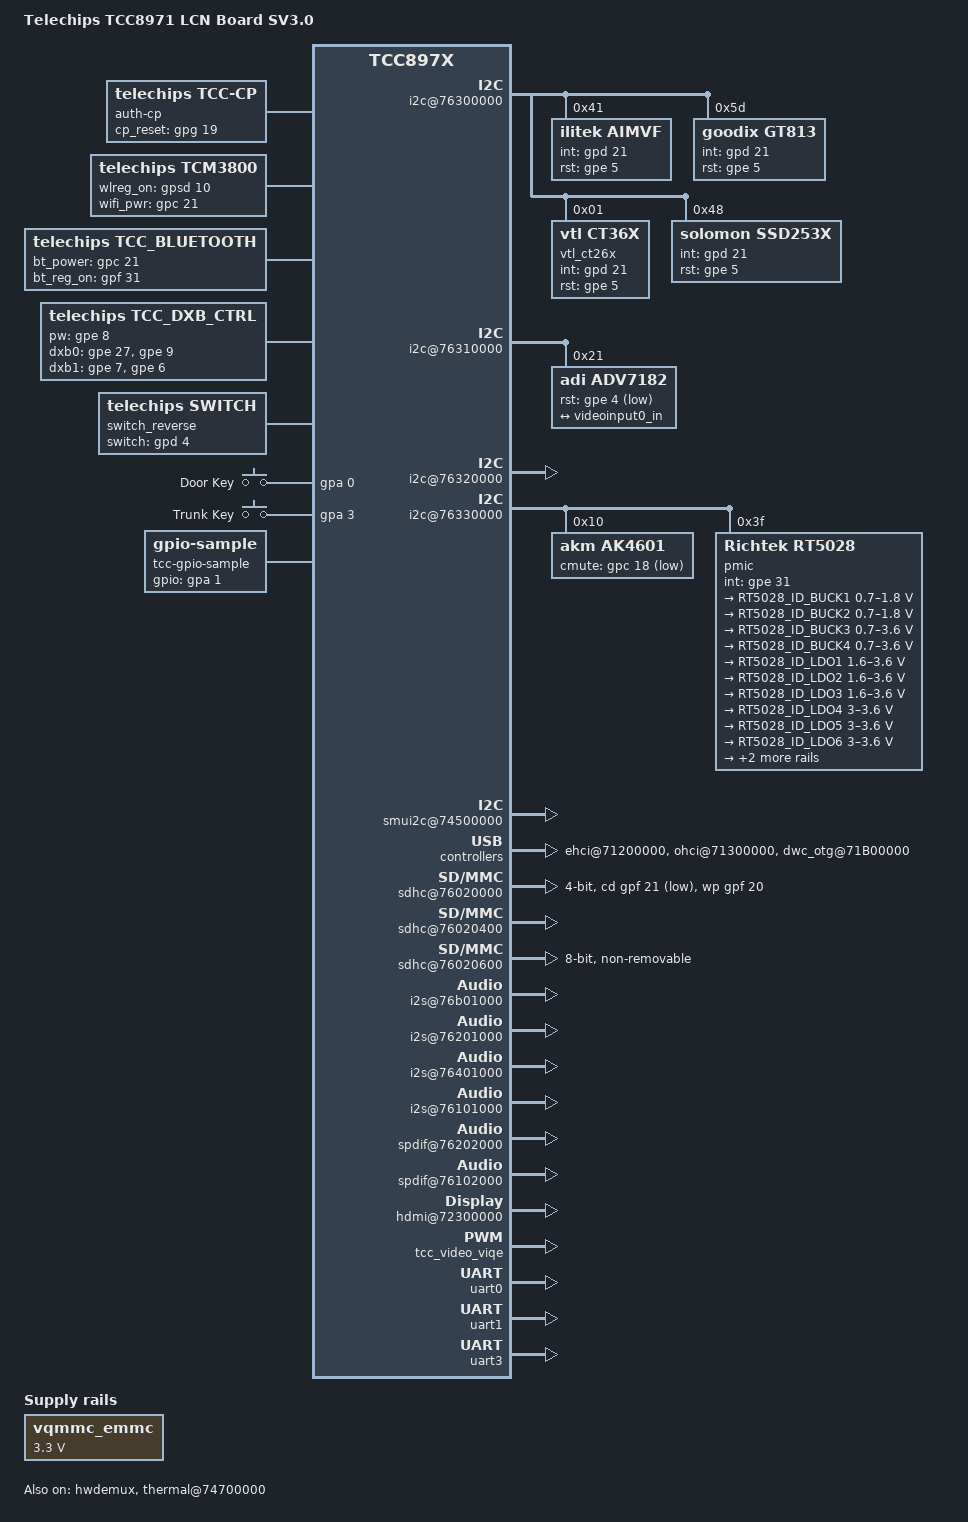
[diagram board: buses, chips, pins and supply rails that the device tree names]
/*
 * Device tree for Telechips TCC8971 LCN board
 *
 * Copyright (C) 2018 Telechips Inc. - http://www.telechips.com
 *
 * This file is dual-licensed: you can use it either under the terms
 * of the GPL or the X11 license, at your option. Note that this dual
 * licensing only applies to this file, and not this project as a
 * whole.
 *
 *  a) This file is free software; you can redistribute it and/or
 *     modify it under the terms of the GNU General Public License as
 *     published by the Free Software Foundation; either version 2 of the
 *     License, or (at your option) any later version.
 *
 *     This file is distributed in the hope that it will be useful,
 *     but WITHOUT ANY WARRANTY; without even the implied warranty of
 *     MERCHANTABILITY or FITNESS FOR A PARTICULAR PURPOSE.  See the
 *     GNU General Public License for more details.
 *
 * Or, alternatively,
 *
 *  b) Permission is hereby granted, free of charge, to any person
 *     obtaining a copy of this software and associated documentation
 *     files (the "Software"), to deal in the Software without
 *     restriction, including without limitation the rights to use,
 *     copy, modify, merge, publish, distribute, sublicense, and/or
 *     sell copies of the Software, and to permit persons to whom the
 *     Software is furnished to do so, subject to the following
 *     conditions:
 *
 *     The above copyright notice and this permission notice shall be
 *     included in all copies or substantial portions of the Software.
 *
 *     THE SOFTWARE IS PROVIDED "AS IS", WITHOUT WARRANTY OF ANY KIND,
 *     EXPRESS OR IMPLIED, INCLUDING BUT NOT LIMITED TO THE WARRANTIES
 *     OF MERCHANTABILITY, FITNESS FOR A PARTICULAR PURPOSE AND
 *     NONINFRINGEMENT. IN NO EVENT SHALL THE AUTHORS OR COPYRIGHT
 *     HOLDERS BE LIABLE FOR ANY CLAIM, DAMAGES OR OTHER LIABILITY,
 *     WHETHER IN AN ACTION OF CONTRACT, TORT OR OTHERWISE, ARISING
 *     FROM, OUT OF OR IN CONNECTION WITH THE SOFTWARE OR THE USE OR
 *     OTHER DEALINGS IN THE SOFTWARE.
 */

/dts-v1/;

#include "tcc8971.dtsi"
#include "tcc8971-display.dtsi"

#include "tcc-pmap-897x-linux-customized.dtsi"
#include "tcc-pmap-common.dtsi"
#include <dt-bindings/pmap/tcc897x/pmap-tcc897x-linux-ivi.h>

/ {
	model = "Telechips TCC8971 LCN Board SV3.0";
	compatible = "telechips,tcc8971", "telechips,tcc897x";

	reserved-memory {
		/*-----------------------------------------------------------
		 * Secure Area 1 (CPU R/W, VPU X, GPU R/W, VIOC R)
		 *-----------------------------------------------------------
		 */
		pmap_fb_video: fb_video {
			compatible = "telechips,pmap";
			telechips,pmap-name = "fb_video";
			alloc-ranges = <SECURE_AREA_1_BASE SECURE_AREA_1_SIZE>;
			size = <PMAP_SIZE_FB_VIDEO>;
			telechips,pmap-secured = <1>;
			no-map;
		};

		pmap_fb1_video: fb1_video {
			compatible = "telechips,pmap";
			telechips,pmap-name = "fb1_video";
			alloc-ranges = <SECURE_AREA_1_BASE SECURE_AREA_1_SIZE>;
			size = <PMAP_SIZE_FB1_VIDEO>;
			telechips,pmap-secured = <1>;
			no-map;
		};

		pmap_fb2_video: fb2_video {
			compatible = "telechips,pmap";
			telechips,pmap-name = "fb2_video";
			alloc-ranges = <SECURE_AREA_1_BASE SECURE_AREA_1_SIZE>;
			size = <PMAP_SIZE_FB2_VIDEO>;
			telechips,pmap-secured = <1>;
			no-map;
		};

		/*-----------------------------------------------------------
		 * Secure Area 2 (CPU X, VPU X, GPU X, VIOC R/W)
		 *-----------------------------------------------------------
		 */
		pmap_overlay: overlay {
			compatible = "telechips,pmap";
			telechips,pmap-name = "overlay";
			alloc-ranges = <SECURE_AREA_2_BASE SECURE_AREA_2_SIZE>;
			/* Max-Displayed-Output(w*h*2) * 3 */
			size = <PMAP_SIZE_OVERLAY>;
			telechips,pmap-secured = <2>;
			no-map;
		};

		pmap_overlay1: overlay1 {
			compatible = "telechips,pmap";
			telechips,pmap-name = "overlay1";
			alloc-ranges = <SECURE_AREA_2_BASE SECURE_AREA_2_SIZE>;
			/* Max-Displayed-Output(w*h*2) * 3 */
			size = <PMAP_SIZE_OVERLAY1>;
			telechips,pmap-secured = <2>;
			no-map;
		};

		pmap_overlay_rot: overlay_rot {
			compatible = "telechips,pmap";
			telechips,pmap-name = "overlay_rot";
			alloc-ranges = <SECURE_AREA_2_BASE SECURE_AREA_2_SIZE>;
			/* Max-Displayed-Output(w*h*2) for device-rotation. */
			size = <PMAP_SIZE_OVERLAY_ROT>;
			telechips,pmap-secured = <2>;
			no-map;
		};

		pmap_viqe0: viqe0 {
			compatible = "telechips,pmap";
			telechips,pmap-name = "viqe";
			alloc-ranges = <SECURE_AREA_2_BASE SECURE_AREA_2_SIZE>;
			size = <PMAP_SIZE_VIQE0>;
			telechips,pmap-secured = <2>;
			no-map;
		};

		pmap_viqe1: viqe1 {
			compatible = "telechips,pmap";
			telechips,pmap-name = "viqe1";
			alloc-ranges = <SECURE_AREA_2_BASE SECURE_AREA_2_SIZE>;
			size = <PMAP_SIZE_VIQE1>;
			telechips,pmap-secured = <2>;
			no-map;
		};

		pmap_output_attach: output_attach {
			compatible = "telechips,pmap";
			telechips,pmap-name = "output_attach";
			alloc-ranges = <SECURE_AREA_2_BASE SECURE_AREA_2_SIZE>;
			size = <PMAP_SIZE_OUTPUT_ATTACH>;
			telechips,pmap-secured = <2>;
			no-map;
		};

		pmap_v4l2_vout0: v4l2_vout0 {
			compatible = "telechips,pmap";
			telechips,pmap-name = "v4l2_vout0";
			alloc-ranges = <SECURE_AREA_2_BASE SECURE_AREA_2_SIZE>;
			size = <PMAP_SIZE_V4L2_VOUT0>;
			telechips,pmap-secured = <2>;
			no-map;
		};

		pmap_v4l2_vout1: v4l2_vout1 {
			compatible = "telechips,pmap";
			telechips,pmap-name = "v4l2_vout1";
			alloc-ranges = <SECURE_AREA_2_BASE SECURE_AREA_2_SIZE>;
			size = <PMAP_SIZE_V4L2_VOUT1>;
			telechips,pmap-secured = <2>;
			no-map;
		};

		pmap_video_dual: video_dual {
			compatible = "telechips,pmap";
			telechips,pmap-name = "video_dual";
			alloc-ranges = <SECURE_AREA_2_BASE SECURE_AREA_2_SIZE>;
			size = <PMAP_SIZE_VIDEO_DUAL>;
			telechips,pmap-secured = <2>;
			no-map;
		};

		pmap_fb_wmixer: fb_wmixer {
			compatible = "telechips,pmap";
			telechips,pmap-name = "fb_wmixer";
			alloc-ranges = <SECURE_AREA_2_BASE SECURE_AREA_2_SIZE>;
			/* Max-Video-Resolution(w*h*2) */
			size = <PMAP_SIZE_FB_WMIXER>;
			telechips,pmap-secured = <2>;
			no-map;
		};

		/*-----------------------------------------------------------
		 * Secure Area 3 (CPU X, VPU R/W, GPU X, VIOC R)
		 *-----------------------------------------------------------
		 */

		pmap_secure_inbuf: secure_inbuf {
			compatible = "telechips,pmap";
			telechips,pmap-name = "secure_inbuf";
			alloc-ranges = <SECURE_AREA_3_BASE SECURE_AREA_3_SIZE>;
			size = <PMAP_SIZE_SECURE_INBUF>;
			telechips,pmap-secured = <3>;
			no-map;
		};

		pmap_video_ext: video_ext {
			compatible = "telechips,pmap";
			telechips,pmap-name = "video_ext";
			alloc-ranges = <SECURE_AREA_3_BASE SECURE_AREA_3_SIZE>;
			size = <PMAP_SIZE_VIDEO_EXT>;
			telechips,pmap-secured = <3>;
			no-map;
		};

		pmap_video_ext2: video_ext2 {
			compatible = "telechips,pmap";
			telechips,pmap-name = "video_ext2";
			alloc-ranges = <SECURE_AREA_3_BASE SECURE_AREA_3_SIZE>;
			size = <PMAP_SIZE_VIDEO_EXT2>;
			telechips,pmap-secured = <3>;
			no-map;
		};

		pmap_video: video {
			compatible = "telechips,pmap";
			telechips,pmap-name = "video";
			alloc-ranges = <SECURE_AREA_3_BASE SECURE_AREA_3_SIZE>;
			size = <PMAP_SIZE_VIDEO>;
			telechips,pmap-secured = <3>;
			no-map;
		};

		pmap_video_sw: video_sw {
			compatible = "telechips,pmap";
			telechips,pmap-name = "video_sw";
			alloc-ranges = <RESERVED_MEM_BASE RESERVED_MEM_SIZE>;
			size = <PMAP_SIZE_VIDEO_SW_EXTRA>;
			no-map;
		};

		/*-----------------------------------------------------------
		 * Secure Area 4 (CPU X, VPU X, GPU R/W, VIOC R/W)
		 *-----------------------------------------------------------
		 */
		pmap_ump_reserved: ump_reserved {
			compatible = "telechips,pmap";
			telechips,pmap-name = "ump_reserved";
			alloc-ranges = <SECURE_AREA_4_BASE SECURE_AREA_4_SIZE>;
			/* Max-Video-Resolution(Aligned_256KB(w*h*3/2)) * 12 + 1MB */
			size = <PMAP_SIZE_UMP_RESERVED>;
			telechips,pmap-secured = <4>;
		};

		pmap_ion_carveout_cam: ion_carveout_cam {
			compatible = "telechips,pmap";
			telechips,pmap-name = "ion_carveout_cam";
			alloc-ranges = <SECURE_AREA_4_BASE SECURE_AREA_4_SIZE>;
			size = <PMAP_SIZE_ION_CARVEOUT_CAM>; // 12MB
			telechips,pmap-secured = <4>;
		};

		/*-----------------------------------------------------------
		 * Shared Memory with pmap_viqe
		 *-----------------------------------------------------------
		 */
		pmap_jpeg_header: jpeg_header {
			compatible = "telechips,pmap";
			telechips,pmap-name = "jpeg_header";
			alloc-ranges = <RESERVED_MEM_BASE RESERVED_MEM_SIZE>;
			telechips,pmap-shared = <&pmap_viqe0>;
			telechips,pmap-shared-size = <PMAP_SIZE_JPEG_HEADER>;
			telechips,pmap-offset = <0x0>;
			size = <0x0>;
			no-map;
		};

		pmap_jpeg_stream: jpeg_stream {
			compatible = "telechips,pmap";
			telechips,pmap-name = "jpeg_stream";
			alloc-ranges = <RESERVED_MEM_BASE RESERVED_MEM_SIZE>;
			telechips,pmap-shared = <&pmap_jpeg_header>;
			telechips,pmap-shared-size = <PMAP_SIZE_JPEG_STREAM>;
			telechips,pmap-offset = <PMAP_SIZE_JPEG_HEADER>;
			size = <0x0>;
			no-map;
		};

		pmap_jpeg_raw: jpeg_raw {
			compatible = "telechips,pmap";
			telechips,pmap-name = "jpeg_raw";
			alloc-ranges = <RESERVED_MEM_BASE RESERVED_MEM_SIZE>;
			telechips,pmap-shared = <&pmap_jpeg_stream>;
			telechips,pmap-shared-size = <PMAP_SIZE_JPEG_RAW>;
			telechips,pmap-offset = <PMAP_SIZE_JPEG_STREAM>;
			size = <0x0>;
			no-map;
		};

		/*-----------------------------------------------------------
		 * Camera Memory
		 *-----------------------------------------------------------
		 */
		pmap_rearcamera_viqe: rearcamera_viqe {
			compatible = "telechips,pmap";
			telechips,pmap-name = "rearcamera_viqe";
			alloc-ranges = <EARLY_REARCAM_BASE EARLY_REARCAM_SIZE>;
			size = <PMAP_SIZE_CAMERA_VIQE>;
			no-map;
		};

		pmap_rearcamera: rearcamera {
			compatible = "telechips,pmap";
			telechips,pmap-name = "rearcamera";
			alloc-ranges = <EARLY_REARCAM_BASE EARLY_REARCAM_SIZE>;
			size = <PMAP_SIZE_CAMERA_PREVIEW0>;
			no-map;
		};

		pmap_rearcamera3: rearcamera3 {
			compatible = "telechips,pmap";
			telechips,pmap-name = "rearcamera3";
			alloc-ranges = <EARLY_REARCAM_BASE EARLY_REARCAM_SIZE>;
			size = <PMAP_SIZE_CAMERA_PREVIEW3>;
			no-map;
		};

		pmap_parking_gui: parking_gui {
			compatible = "telechips,pmap";
			telechips,pmap-name = "parking_gui";
			alloc-ranges = <EARLY_REARCAM_BASE EARLY_REARCAM_SIZE>;
			size = <PMAP_SIZE_CAMERA_PGL>;
			no-map;
		};

		/*-----------------------------------------------------------
		 * Default Reserved Memory
		 *-----------------------------------------------------------
		 */
		pmap_ump_reserved_sw: ump_reserved_sw {
			compatible = "telechips,pmap";
			telechips,pmap-name = "ump_reserved_sw";
			alloc-ranges = <RESERVED_MEM_BASE RESERVED_MEM_SIZE>;
			size = <PMAP_SIZE_UMP_RESERVED_SW>; // 4KB * 12
			no-map;
		};

		pmap_video_sbackup: video_sbackup {
			compatible = "telechips,pmap";
			telechips,pmap-name = "video_sbackup";
			alloc-ranges = <RESERVED_MEM_BASE RESERVED_MEM_SIZE>;
			/* 0x200000 for 1080p, 0x600000 for 2160p */
			size = <PMAP_SIZE_VIDEO_SBACKUP>;
			telechips,pmap-secured;
			no-map;
		};

		pmap_pmem: pmem {
			compatible = "telechips,pmap";
			telechips,pmap-name = "pmem";
			alloc-ranges = <RESERVED_MEM_BASE RESERVED_MEM_SIZE>;
			size = <PMAP_SIZE_PMEM>;
			no-map;
		};

		pmap_video_thumb: video_thumb {
			compatible = "telechips,pmap";
			telechips,pmap-name = "video_thumb";
			alloc-ranges = <RESERVED_MEM_BASE RESERVED_MEM_SIZE>;
			/* 0x600000 for 1080p video, 0x1A00000 for 2160p */
			size = <PMAP_SIZE_VIDEO_THUMB>;
			no-map;
		};

		pmap_ext_camera: ext_camera {
			compatible = "telechips,pmap";
			telechips,pmap-name = "ext_camera";
			alloc-ranges = <RESERVED_MEM_BASE RESERVED_MEM_SIZE>;
			size = <PMAP_SIZE_EXT_CAMERA>;
			no-map;
		};

		pmap_nand_mem: nand_mem {
			compatible = "telechips,pmap";
			telechips,pmap-name = "nand_mem";
			alloc-ranges = <RESERVED_MEM_BASE RESERVED_MEM_SIZE>;
			size = <PMAP_SIZE_NAND_MEM>;
			no-map;
		};

		pmap_tsif: tsif {
			compatible = "telechips,pmap";
			telechips,pmap-name = "tsif";
			alloc-ranges = <RESERVED_MEM_BASE RESERVED_MEM_SIZE>;
			size = <PMAP_SIZE_TSIF>;
			no-map;
		};

		/*
		 * pmap_jpg_enc_dxb: jpg_enc_dxb {
		 *	telechips,pmap-name = "jpg_enc_dxb";
		 *	alloc-ranges = <RESERVED_MEM_BASE RESERVED_MEM_SIZE>;
		 *	size = <PMAP_SIZE_JPG_ENC_DXB>;
		 *	no-map;
		 * };
		 *
		 * pmap_jpg_raw_dxb: jpg_raw_dxb {
		 *	telechips,pmap-name = "jpg_raw_dxb";
		 *	alloc-ranges = <RESERVED_MEM_BASE RESERVED_MEM_SIZE>;
		 *	size = <PMAP_SIZE_JPG_RAW_DXB>;
		 *	no-map;
		 * };
		 */

		pmap_v4l2_subtitle: v4l2_subtitle {
			compatible = "telechips,pmap";
			telechips,pmap-name = "v4l2_subtitle";
			alloc-ranges = <RESERVED_MEM_BASE RESERVED_MEM_SIZE>;
			size = <PMAP_SIZE_V4L2_SUBTITLE>;
			no-map;
		};

		pmap_prot_tztee: prot_tztee {
			compatible = "telechips,pmap";
			telechips,pmap-name = "prot_tztee";
			alloc-ranges = <RESERVED_MEM_BASE RESERVED_MEM_SIZE>;
			/* Calculate start address based on 0x30000000.
			 * Base address will be (0x30000000 - prot_tztee_size).
			 */
			size = <0x0>;
			no-map;
		};

		reserved_ramoops: ramoops {
			compatible = "telechips,pmap";
			telechips,pmap-name = "ramoops";
			alloc-ranges = <RESERVED_MEM_BASE RESERVED_MEM_SIZE>;
			size = <PMAP_SIZE_RAMOOPS>;
			no-map;
		};

		/*
		 * reserved_cma: linux,cma {
		 *	compatible = "shared-dma-pool";
		 *	alloc-ranges = <RESERVED_MEM_BASE RESERVED_MEM_SIZE>;
		 *	size = <PMAP_SIZE_CMA>;
		 *	//alignment = <0x04000000>;
		 *	alignment = <0x0>;
		 *	linux,cma-default;
		 *	reusable;
		 * };
		 */

		/*-----------------------------------------------------------
		 * Shared Memory with pmap_video :: only for enc_main pmap.
		 *-----------------------------------------------------------
		 */
		pmap_enc_main: enc_main {
			compatible = "telechips,pmap";
			telechips,pmap-name = "enc_main";
			alloc-ranges = <RESERVED_MEM_BASE RESERVED_MEM_SIZE>;
			telechips,pmap-shared = <&pmap_video>;
			telechips,pmap-shared-size = <PMAP_SIZE_ENC>;
			telechips,pmap-offset = <VIDEO_MAIN_SIZE>;
			size = <0x0>;
			no-map;
		};

		pmap_enc_ext: enc_ext {
			compatible = "telechips,pmap";
			telechips,pmap-name = "enc_ext";
			alloc-ranges = <RESERVED_MEM_BASE RESERVED_MEM_SIZE>;
			size = <PMAP_SIZE_ENC_EXT>;
			no-map;
		};

		pmap_enc_ext2: enc_ext2 {
			compatible = "telechips,pmap";
			telechips,pmap-name = "enc_ext2";
			alloc-ranges = <RESERVED_MEM_BASE RESERVED_MEM_SIZE>;
			size = <PMAP_SIZE_ENC_EXT2>;
			no-map;
		};

		pmap_enc_ext3: enc_ext3 {
			compatible = "telechips,pmap";
			telechips,pmap-name = "enc_ext3";
			alloc-ranges = <RESERVED_MEM_BASE RESERVED_MEM_SIZE>;
			size = <PMAP_SIZE_ENC_EXT3>;
			no-map;
		};

		pmap_enc_ext4: enc_ext4 {
			compatible = "telechips,pmap";
			telechips,pmap-name = "enc_ext4";
			alloc-ranges = <RESERVED_MEM_BASE RESERVED_MEM_SIZE>;
			size = <PMAP_SIZE_ENC_EXT4>;
			no-map;
		};

		pmap_enc_ext5: enc_ext5 {
			compatible = "telechips,pmap";
			telechips,pmap-name = "enc_ext5";
			alloc-ranges = <0x0 RESERVED_MEM_BASE 0x0 RESERVED_MEM_SIZE>;
			size = <0x0 PMAP_SIZE_ENC_EXT5>;
			no-map;
		};

		pmap_enc_ext6: enc_ext6 {
			compatible = "telechips,pmap";
			telechips,pmap-name = "enc_ext6";
			alloc-ranges = <0x0 RESERVED_MEM_BASE 0x0 RESERVED_MEM_SIZE>;
			size = <0x0 PMAP_SIZE_ENC_EXT6>;
			no-map;
		};

		pmap_enc_ext7: enc_ext7 {
			compatible = "telechips,pmap";
			telechips,pmap-name = "enc_ext7";
			alloc-ranges = <0x0 RESERVED_MEM_BASE 0x0 RESERVED_MEM_SIZE>;
			size = <0x0 PMAP_SIZE_ENC_EXT7>;
			no-map;
		};

		pmap_svm: pmap_svm {
			compatible = "telechips,pmap";
			telechips,pmap-name = "pmap_svm";
			alloc-ranges = <RESERVED_MEM_BASE RESERVED_MEM_SIZE>;
			size = <PMAP_SVM_SIZE>;
			no-map;
		};

		reserved_optee: optee_os {
			compatible = "optee.os";
			reg = <0x83400000 0x00C00000>;
			no-map;
			status = "disabled";
		};

		/*
		 * quickboot: quickboot {
		 * compatible = "telechips,pmap";
		 * telechips,pmap-name = "quickboot";
		 * alloc-ranges = <RESERVED_MEM_BASE RESERVED_MEM_SIZE>;
		 * size = <0x01800000>;
		 *  no-map;
		 * };
		 */
	};

	/*tcc_bt_dev {
		compatible = "telechips, tcc_bt_dev";
		bt_reset-gpio = <&gpsd 10 0>;
	};*/
	/* cranking_time */
	/*cranking_detect {
		compatible = "telechips, tcc-cranking";
		cranking-gpios = <&gpf 25 0>;
	};*/
	/*gps-gpio {
		compatible = "telechips, gps-gpio";
		gps_power-gpios = <&gpc 25 0>;
	};*/

	/* CP */
	auth-cp {
		compatible = "telechips, tcc-cp";
		cp-type = <1>;	    // 2.0C = 1, 2.0B = 0
		i2c-channel = <2>;	// 0 ~ 3
		//power-ctrl-able;
		//cp_power-gpio = <&gpg 19 0>;
		cp_reset-gpio = <&gpg 19 0>;
	};

/*
	add dummy key for booting  - start -
 */
	/*pinctrl@74200000 {
		gpio_powerkey: gpio_powerkey {
			telechips,pins = "gpf-31";
			telechips,pin-function = <0>;
			telechips,input-enable;
			telechips,pull-up;
		};
	};*/

	/*gpio_keys_polled {
		compatible = "gpio-keys-polled";
		pinctrl-names = "default";
		pinctrl-0 = <&gpio_powerkey>;
		#address-cells = <1>;
		#size-cells = <0>;
		poll-interval = <100>;
		autorepeat;
		button@0 {
			label = "Power Key";
			linux,code = <116>;
			gpios = <&gpf 31 1>;
		};
	};*/
/*
	add dummy key for booting  - end -
 */

	i2c@76300000 {
		status = "okay";
		port-mux = <11>;
		pinctrl-names = "default";
		pinctrl-0 = <&i2c11_bus>;

		ilitek@41 {
			compatible = "ilitek,aimvF";
			reg = <0x41>;
			pinctrl-names = "default";
			pinctrl-0 = <&tsc_default>;
			int-gpios = <&gpd 21 0>;
			rst-gpios = <&gpe 5 0>;
		};

		gt813@5d {
			compatible = "goodix,gt813";
			reg = <0x5d>;
			pinctrl-names = "default";
			pinctrl-0 = <&tsc_default>;
			int-gpios = <&gpd 21 0>;
			rst-gpios = <&gpe 5 0>;
		};

		vtl_ct26x@01 {
			compatible = "vtl,ct36x";
			reg = <0x01>;
			pinctrl-names = "default";
			pinctrl-0 = <&tsc_default>;
			int-gpios = <&gpd 21 0>;
			rst-gpios = <&gpe 5 0>;
		};

		ssd253x@48 {
			compatible = "solomon,ssd253x";
			reg = <0x48>;
			pinctrl-names = "default";
			pinctrl-0 = <&tsc_default>;
			int-gpios = <&gpd 21 0>;
			rst-gpios = <&gpe 5 0>;
		};
	};

	i2c@76310000 {
		status = "okay";
		port-mux = <18>;
		pinctrl-names = "default";
		pinctrl-0 = <&i2c18_bus>;

		/* video decoder using parallel interface output */
		adv7182: adv7182 {
			status		= "okay";
			compatible	= "adi,adv7182";
			pinctrl-names	= "default";
			pinctrl-0	= <&cam4_clk &cam4_data>;
			rst-gpios	= <&gpe  4 1>;
			reg		= <0x21>;	// 0x42 >> 1
			port {
				adv7182_out: endpoint {
					remote-endpoint = <&videoinput0_in>;
					io-direction	= "output";
					bus-width	= <8>;
				};
			};
		};
	};

	i2c@76320000 {
		status = "okay";
		/*Set CP I2C frequency to 100Khz*/
		scl-clock-frequency = <100000>;
		port-mux = <23>;
		pinctrl-names = "default";
		pinctrl-0 = <&i2c23_bus>;
	};

	i2c@76330000 {
		status = "okay";
		/*Set AK4601 I2C frequency to 400Khz.*/
		/*80Khz is okay, but too slow and make delay.*/
		scl-clock-frequency = <400000>;
		port-mux = <12>;
		pinctrl-names = "default";
		pinctrl-0 = <&i2c12_bus>;

		ak4601: ak4601@10 {
			compatible = "akm,ak4601";
			//ak4601,pdn-gpio = <&gpe 4 1>;
			cmute-gpios = <&gpc 18 1>;     //CODEC_MUTE    0: active high, 1: active low
			//amute-gpios = <&gpc 18 0>;      //AMP_MUTE      0: active high, 1: active low
			//stanby-gpios = <&gpc 16 0>;     //AMP_STBY      0: active high, 1: active low
			reg = <0x10>;
		};

		pmic: rt5028@3f {
			compatible = "Richtek,rt5028";
			reg = <0x3f>;
			int-gpios = <&gpe 31 0>;

			regulators {
				RT5028_ID_BUCK1: buck1 {
					regulator-name = "vdd_core";
					regulator-min-microvolt = <700000>;
					regulator-max-microvolt = <1800000>;
					regulator-always-on;
				};
				RT5028_ID_BUCK2: buck2 {
					regulator-name = "vdd_mem";
					regulator-min-microvolt = <700000>;
					regulator-max-microvolt = <1800000>;
					regulator-always-on;
				};
				RT5028_ID_BUCK3: buck3 {
					regulator-name = "vdd_cpu";
					regulator-min-microvolt = <700000>;
					regulator-max-microvolt = <3600000>;
					regulator-always-on;
				};
				RT5028_ID_BUCK4: buck4 {
					regulator-name = "vdd_io3v3";
					regulator-min-microvolt = <700000>;
					regulator-max-microvolt = <3600000>;
					regulator-always-on;
				};
				RT5028_ID_LDO1: ldo1 {
					regulator-name = "vd2_core";
					regulator-min-microvolt = <1600000>;
					regulator-max-microvolt = <3600000>;
					regulator-always-on;
				};
				RT5028_ID_LDO2: ldo2 {
					regulator-name = "vdd_io1v8";
					regulator-min-microvolt = <1600000>;
					regulator-max-microvolt = <3600000>;
					regulator-always-on;
				};
				RT5028_ID_LDO3: ldo3 {
					regulator-name = "vdd_btwifi";
					regulator-min-microvolt = <1600000>;
					regulator-max-microvolt = <3600000>;
					regulator-always-on;
				};
				RT5028_ID_LDO4: ldo4 {
					regulator-name = "vdd_vbat";
					regulator-min-microvolt = <3000000>;
					regulator-max-microvolt = <3600000>;
					regulator-always-on;
				};
				RT5028_ID_LDO5: ldo5 {
					regulator-name = "vdd_gps";
					regulator-min-microvolt = <3000000>;
					regulator-max-microvolt = <3600000>;
					regulator-always-on;
				};
				RT5028_ID_LDO6: ldo6 {
					regulator-name = "vd1_io";
					regulator-min-microvolt = <3000000>;
					regulator-max-microvolt = <3600000>;
					regulator-always-on;
				};
				RT5028_ID_LDO7: ldo7 {
					regulator-name = "vd1_core";
					regulator-min-microvolt = <1600000>;
					regulator-max-microvolt = <3600000>;
					regulator-always-on;
				};
				RT5028_ID_LDO8: ldo8 {
					regulator-name = "vd2_io";
					regulator-min-microvolt = <1600000>;
					regulator-max-microvolt = <3600000>;
					regulator-always-on;
				};
			};
		};
	};

	videoinput@0 {
		status = "okay";
		cifport         = <&cifport             4>;
		use_pgl		= <1>;
		port {
			videoinput0_in: endpoint {
				remote-endpoint	= <&adv7182_out>;
				io-direction	= "input";
				bus-type	= <0>;
				stream-enable	= <0>;	// VIN_CTRL.SE
				flush-vsync	= <0>;	// VIN_MISC.FVS
			};
		};
	};

	smui2c@74500000 {
		status = "okay";
	};

	ehci_phy@71EA0010{
		status = "okay";
		vbus-ctrl-able;
		vbus-gpio = <&gphdmi 2 0>;
	};

	dwc_otg_phy@71EA0100 {
		status = "okay";
		vbus-ctrl-able;
		vbus-gpio = <&gphdmi 3 0>;
	};

	ehci@71200000 {
		status = "okay";
		hcd_id = <0>;
		phy-type = <1>;	    //pico phy = 1, nano phy = 0
		//hosten-ctrl-able;
		//hosten-gpio = <&gp? ?? 0>;
		vbus-ctrl-able;
		vbus-gpio = <&gphdmi 2 0>;
		//vbus-source-ctrl;
		//pinctrl-names = "default";
		//vdd_ehci-supply = <&vdd_v5p0_reg>;

		//sq_level_ctl;
		TXVRT = <0xB>;
		TXRISET = <0x3>;
		TXAT = <0x1>;
	};

	ohci@71300000 {
		status = "okay";
		//hosten-ctrl-able;
		//hosten-gpio = <&gp? ?? 0>;
		vbus-ctrl-able;
		vbus-gpio = <&gphdmi 2 0>;
		//vbus-source-ctrl;
		//vdd_ohci-supply = <&vdd_v5p0_reg>;
	};

	dwc_otg@71B00000 {
		status = "okay";
		phy-type = <1>;     //pico phy = 1, nano phy = 0
		vbus-ctrl-able;
		vbus-gpio = <&gphdmi 3 0>;
	};

	/* SD Card Slot */
	sdhc@76020000 {
		status = "okay";
		controller-id = <0>;
		bus-width = <4>;
		max-frequency = <50000000>;
		cd-inverted;
		/*non-removable;*/
		cd-gpios = <&gpf 21 0>;
		/*broken-cd;*/
		/*wp-inverted;*/
		wp-gpios = <&gpf 20 0>;
		pinctrl-names = "default", "active";
		pinctrl-0 = <&sd5_clk_idle &sd5_cmd_idle &sd5_bus4_idle>;
		pinctrl-1 = <&sd5_clk &sd5_cmd &sd5_bus4>;
		/*vctrl-gpio = <&gpsd 10 0>;*/
		/* pwr-gpio = <&gpb 28 0>; */ /* NC */

		cap-sdio-irq;
		//cd-polling;

		cap2-no-sleep-cmd;
		cap-bus-width-test;

		/*High-speed SDR*/
		cap-sd-highspeed;
		cap-mmc-highspeed;

		/*keep-power-in-suspend;*/
		/*enable-sdio-wakeup;*/
		/*cap-power-off-card;*/
	};

	sdhc@76020400 { // Wi-Fi tcm3840
		status = "okay";
		controller-id = <2>;
		max-frequency = <208000000>;
		//cd-gpios = <&gpb 13 0>;
		//wp-gpios = <&gpext1 3 0>;
		pinctrl-names = "default", "active";
		pinctrl-0 = <&sd0_clk_idle &sd0_cmd_idle &sd0_bus4_idle &out0_clk>;
		pinctrl-1 = <&sd0_clk &sd0_cmd &sd0_bus4 &out0_clk>;
		clocks = <&clk_peri PERI_SDMMC2 &clk_io IOBUS_SDMMC2 &clk_peri PERI_OUT0>;
		clock-names = "mmc_fclk", "mmc_hclk", "ext32";
		//pwr-gpio = <&gpext2 10 0>;

		cd-inverted;
		//wp-inverted;
		//non-removable;
		//broken-cd;
		keep-power-in-suspend;
		//enable-sdio-wakeup;
		//cap-power-off-card;
		//tcc-clock-control;
		cap-sdio-irq;
		cap2-no-sleep-cmd;
		cap-bus-width-test;

		wifi-polling; // tcm3800 polling
		ext32-enable; // make_rtc
		cap-adma;

		/* High-speed SDR */
		cap-sd-highspeed;
		cap-mmc-highspeed;

		/* High-speed DDR(emmc & SD3.0 DDR50) */
		//cap-1-8V-ddr;
		//cap-uhs-ddr50;

		/* SD3.0 Common */
		cap-vdd-165-195;

		/* SD3.0 SDR12 */
		//cap-uhs-sdr12;

		/* SD3.0 SDR25 */
		//cap-uhs-sdr25;
		//cap-uhs-driver_type_a;

		/* SD3.0 SDR50 */
		//cap-uhs-sdr50;
		//cap-uhs-driver_type_c;

		/* SD3.0 SDR104 */
		cap-uhs-sdr104;
		cap-uhs-driver_type_d;
		cap-uhs-cmd23;
		cap-adma;
	};

	/* eMMC */
	vqmmc_emmc: vqmmc_emmc {
		compatible = "regulator-fixed";
		regulator-name = "vqmmc_emmc";
		regulator-min-microvolt = <3300000>;
		regulator-max-microvolt = <3300000>;
		regulator-always-on;
	};

	sdhc@76020600 {
		status = "okay";
		compatible = "telechips,tcc897x-sdhci";
		controller-id = <3>;
		bus-width = <8>;
		max-frequency = <50000000>;
		pinctrl-names = "default";
		pinctrl-0 = <&sd3_clk &sd3_cmd &sd3_bus8>;

		non-removable;
		keep-power-in-suspend;
		disable-wp;
		mmc-ddr-3_3v;

		vqmmc-supply = <&vqmmc_emmc>;
	};

	tcm3800 {
		compatible = "telechips, tcm3800";
		wlreg_on-gpio = <&gpsd 10 0>; /* WIFI_REG_ON */
		wifi_pwr-gpio = <&gpc 21 0>; /* BTWIFI_VBAT_EN */
	};

	tcc_bluetooth {
		compatible = "telechips, tcc_bluetooth";
		bt_power-gpio = <&gpc 21 0>;
		bt_reg_on-gpio = <&gpf 31 0>;
		status = "okay";
	};

	tcc_dxb_drv {
		compatible = "telechips,tcc_dxb_drv";
	};

	tcc_dxb_ctrl {
		compatible = "telechips,tcc_dxb_ctrl";
		/* DXB_ON */
		pw-gpios   = <&gpe 8 0>;
		/* PD RST IRQ */
		dxb0-gpios = <&gpe 27 0>, <&gpe 9 0>, <0>, <0>;
		dxb1-gpios = <&gpe 7 0>, <&gpe 6 0>, <0>, <0>;
		ant-gpios  = <0>, <0>;
	};

	i2s@76b01000 {
		compatible = "telechips,sdr";
		dev-name = "tcc-sdr";
		pinctrl-names = "default", "dai_mute";
		pinctrl-0 = <&s2dai_clks &s2dai_d0 &s2dai_d1 &s2dai_d2 &s2dai_d3>;
		pinctrl-1 = <&mute_s2dai_d0 &mute_s2dai_d1 &mute_s2dai_d2 &mute_s2dai_d3>;
		status = "okay";
	};

	pinctrl@74200000 {
		/*gpg-6 is for SDR_GPIO1*/
		mdai_clks: mdai_clks{
			telechips,pins = "gpg-7", "gpg-8";
			telechips,pin-function = <1>;
		};
	};

	i2s@76201000 { /*This is for BT hw:0,2*/
		pinctrl-names = "default", "dai_mute";
		pinctrl-0 = <&mdai_clks &mdai_d0>;
		pinctrl-1 = <&mute_mdai_d0>;
		clock-frequency = <48000>;
		status = "okay";
	};

	i2s@76401000 { /*This is for MainAudio hw:0,0*/
		pinctrl-names = "default", "dai_mute";
		pinctrl-0 = <&s1dai_clks &s1dai_d0>;
		pinctrl-1 = <&mute_s1dai_d0>;
		clock-frequency = <48000>;
		status = "okay";
	};

/* I2S2 connect to SDR
	i2s@76b01000 {
		pinctrl-names = "default";
		pinctrl-0 = <&s2dai_clks &s2dai_d0>;
		clock-frequency = <12288000>;	// 48000*256
		status = "okay";
	};
*/

	i2s@76101000 { /*This is for hw:0,5*/
		pinctrl-names = "default", "dai_mute";
		pinctrl-0 = <&s3dai_clks &s3dai_d0>;
		pinctrl-1 = <&mute_s3dai_d0>;
		clock-frequency = <48000>;
		status = "okay";
	};

	spdif@76202000 { /*This is for SPDIF TX1 hw:0,1*/
		pinctrl-names = "default";
		pinctrl-0 = <&mdai_spdif_tx &mdai_spdif_rx>;
		status = "okay";
	};

	spdif@76102000 { /*This is for SPDIF TX2 hw:0,3*/
		pinctrl-names = "default";
		pinctrl-0 = <&s3dai_spdif_tx>;
		status = "okay";
	};

	cdif@76101080 {	/*This is for SDR hw:0,4*/
		pinctrl-names = "default";
		pinctrl-0 = <&scdif2_clks &scdif2_d0>;
		status = "okay";
	};

	dummy: dummy@0 {
		compatible = "telechips,dummy";
	};

	sound {
		compatible = "telechips,snd-lcn3";
		telechips,model = "TCC8971 LCN2 Card";
		telechips,dai-controller = <&i2s1 &spdif0 &i2s0 &spdif1 &cdif1 &i2s3>;
		telechips,audio-codec = <&ak4601 &dummy &dummy &dummy &dummy &dummy>;
		status="okay";
	};

	switch_reverse {
		compatible = "telechips,switch";
		status = "okay";

		pinctrl-names = "default";
		pinctrl-0 = <&switch_reverse2>;

		switch-gpios = <&gpd 4 0>;
		switch-active = <1>;
	};

/*
	tcc_camera: tcc_camera {
		compatible = "telechips-camera";
		status = "okay";

		clocks = <&clk_peri PERI_OUT3 &clk_ddi DDIBUS_VIOC>;

		rear_cam_misc = <&rear_ramera>;

		camera_pgl	= <&vioc_rdma	 16>;
		camera_videoin	= <&vioc_vin	4 0>;
		camera_viqe	= <&vioc_viqe	  0>;
		camera_viqe_set	= <&viqe_hidden	   >;
		camera_deintls	= <&vioc_deintls  0>;
		camera_scaler	= <&vioc_scaler	  2>;
		camera_wmixer	= <&vioc_wmixer	  5>;
		camera_wdma	= <&vioc_wdma	  5>;
		camera_fifo	= <&vioc_fifo	  0>;
		camera_config	= <&vioc_config	  0>;

		pinctrl-names = "idle", "active";
		pinctrl-0 = <&cam4_idle>;
		pinctrl-1 = <&cam4_clki &cam4_hsync &cam4_vsync &cam4_data &cam4_fld>;
		//pinctrl-0 = <&cam1_idle>;
		//pinctrl-1 = <&cam1_clki &cam1_hsync &cam1_vsync &cam1_data &cam1_fld &cam1_de>;

		// cif port based on video source
		adv7182_atv {
			rst-gpios = <&gpe  4 1>;
			camera_port = <&cifport 4>;
		};
		dm5886_atv {
			rst-gpios = <&gpf 11 1>;
			camera_port = <&cifport 1>;
		};
	};
*/

	hdmi@72300000 {
		status ="okay";
	};

	hpd@72310000 {
		status ="okay";
	};

	cec@72370000 {
		status ="okay";
	};

	overlaymixer:overlaymixer@72400000 {
		//status ="okay";
		contiguousSize = <0x1000000>;  /* 16MB (if > 512MB RAM) refer to Guide 27 Page */
		baseAddress = <0x80000000>;
		physSize = <0x80000000>; /*  DRAM size (0x40000000 = 1GB, 0x80000000 = 2GB) */
	};

	fbdisplay: fbdisplay@72000000 {
		telechips,fbdisplay_num = <0>;
		//Linuxplatform
		telechips,overlay_priority = <24>;
		//
		status ="okay";
	};

//TODO:TCC897X Only Android????
	tcc_vsync_drv {
		compatible = "telechips,tcc_vsync";
		display-vioc0 = <&vioc_disp VIOC_DISP0>;
		display-vioc1 = <&vioc_disp VIOC_DISP1>;
		status = "okay";
	};

	tcc_video_viqe {
		status ="okay";

		tcc_video_viqe_lcd {
			telechips,wmixer = <&vioc_wmix VIOC_WMIX0>;
			telechips,rdma,60 = <&vioc_rdma VIOC_RDMA03>;
			telechips,disp = <&vioc_disp VIOC_DISP0>;
			telechips,sc = <&vioc_scaler VIOC_SCALER1>;
			viqe_rdma_num_60 = <VIOC_VIQE_RDMA_03>;
			sc_rdma_num_60 = <VIOC_SC_RDMA_03>;
			//scaler_num_60 = <1>;
			//wmix_rdma = <3>;
		};

		tcc_video_viqe_external {
			telechips,wmixer = <&vioc_wmix VIOC_WMIX1>;
			telechips,rdma,60 = <&vioc_rdma VIOC_RDMA07>;
			telechips,disp = <&vioc_disp VIOC_DISP1>;
			telechips,sc = <&vioc_scaler VIOC_SCALER3>;
			viqe_rdma_num_60 = <VIOC_VIQE_RDMA_07>;
			scaler_num_60 = <VIOC_SC_RDMA_03>;
			//sc_rdma_num_60 = <7>;
			//wmix_rdma = <7>;
		};
	};

	vioc_lut:vioc_lut@72009000{
		status = "okay";
	};

	/* H/W Demux */
	hwdemux: cmbus@79000000 {
		compatible = "telechips,hwdemux";
		status = "okay";
	};

	gpsb1@76910000 {
		status = "okay";
		gpsb-port = <13>;
		pinctrl-names = "idle", "active";
		pinctrl-0 = <&gpsb13_bus_idle>;
		pinctrl-1 = <&gpsb13_bus_tsif>;
	};

	gpsb2@76920000 {
		status = "okay";
		gpsb-port = <12>;
		pinctrl-names = "idle", "active";
		pinctrl-0 = <&gpsb12_bus_idle>;
		pinctrl-1 = <&gpsb12_bus_tsif>;
	};

	/*tcc_ex_tsif {
		compatible = "telechips,tcc89xx-hwdmx-tsif";
		tsif-id = <2>;
		tsif-port = <6>;
		pinctrl-names = "idle", "active";
		pinctrl-0 = <&ts6_idle>;
		pinctrl-1 = <&ts6_active>;
	};*/

/*
	viocmg {
		compatible = "telechips,viocmg-drv";
		status = "okay";
		telechips,viocmg-fbdisplay = <&fbdisplay>;
		telechips,viocmg-camera = <&tcc_camera>;
		telechips,viocmg-rearcam = <&rear_ramera>;

		// RDMA in Display Path
		telechips,disp_rdma = <&vioc_rdma 2>;

		// feature
		telechips,rear_cam_enable = <1>;
		telechips,rear_cam_use_viqe = <1>;
		telechips,rear_cam_viqe_mode = <2>;
		telechips,rear_cam_use_parking_line = <1>;

		// rear cam mode
		telechips,rear_cam_mode = <0>;
		telechips,rear_cam_ovp = <13>;

		// hardware reg
		telechips,wmixer = <&vioc_wmixer>;
		telechips,config = <&vioc_config>;
	};

	rear_ramera:rear-camera {
		compatible = "telechips,rear-camera-drv";
		telechips,rear-camera = <&tcc_camera>;
		status = "okay";

		// preview
		telechips,preview_x = <0>;
		telechips,preview_y = <0>;
		telechips,preview_width = <1024>;
		telechips,preview_height = <600>;
		telechips,preview_format = <14>;
		telechips,preview_crop_x = <0>;
		telechips,preview_crop_y = <30>;
		telechips,preview_additional_width = <0>;
		telechips,preview_additional_height = <35>;

		// parking line
		telechips,parking_line_x = <0>;
		telechips,parking_line_y = <0>;
		telechips,parking_line_width = <1024>;
		telechips,parking_line_height = <600>;
		telechips,parking_line_format = <12>;
	};
*/

	vout_drv@0 {
		status = "okay";
	};

	/*gmac@71600000 {
		status = "okay";
		phyrst-gpio = <&gpc 29 0>;
		//phyon-gpio = <&gpc 19 0>;  [> not use bcm89811 <]
		phy-interface = "rgmii";
		ecid-mac-addr;
		txclk-o-dly = <0>; // changed from <29>;
		txclk-o-inv = <0>;
		txclk-i-dly = <0>;
		txclk-i-inv = <0>;
		txen-dly = <0>;
		txer-dly = <0>;
		txd0-dly = <0>;
		txd1-dly = <0>;
		txd2-dly = <0>; // <3>;
		txd3-dly = <0>; // <3>;
		txd4-dly = <0>;
		txd5-dly = <0>;
		txd6-dly = <0>;
		txd7-dly = <0>;
		rxclk-i-dly = <0>;
		rxclk-i-inv = <0>;
		rxdv-dly = <0>; // changed from <15>;
		rxer-dly = <0>;
		rxd0-dly = <0>; //<22>;
		rxd1-dly = <0>; //<20>;
		rxd2-dly = <0>; //<20>;
		rxd3-dly = <0>; //<21>;
		rxd4-dly = <0>;
		rxd5-dly = <0>;
		rxd6-dly = <0>;
		rxd7-dly = <0>;
		crs-dly = <0>;
		col-dly = <0>;
		pinctrl-names = "default", "mii", "rmii", "gmii", "rgmii";
		pinctrl-0 = <>;
		pinctrl-1 = <&gmac1_mdc &gmac1_mdio &gmac1_col &gmac1_crs &gmac1_txer &gmac1_rxer
					 &gmac1_txclk &gmac1_txen &gmac1_txd0 &gmac1_txd1 &gmac1_txd2 &gmac1_txd3
					 &gmac1_rxclk &gmac1_rxdv &gmac1_rxd0 &gmac1_rxd1 &gmac1_rxd2 &gmac1_rxd3>;
		pinctrl-2 = <&gmac1_mdc &gmac1_mdio
					 &gmac1_txclk &gmac1_txen &gmac1_txd0 &gmac1_txd1
					 &gmac1_rxer &gmac1_rxdv &gmac1_rxd0 &gmac1_rxd1>;
		pinctrl-3 = <&gmac1_mdc &gmac1_mdio &gmac1_col &gmac1_crs &gmac1_txer &gmac1_rxer
					 &gmac1_txclk &gmac1_txen &gmac1_txd0 &gmac1_txd1 &gmac1_txd2 &gmac1_txd3
					 &gmac1_txd4 &gmac1_txd5 &gmac1_txd6 &gmac1_txd7
					 &gmac1_rxclk &gmac1_rxdv &gmac1_rxd0 &gmac1_rxd1 &gmac1_rxd2 &gmac1_rxd3
					 &gmac1_rxd4 &gmac1_rxd5 &gmac1_rxd6 &gmac1_rxd7>;
		pinctrl-4 = <&gmac1_mdc &gmac1_mdio
					 &gmac1_txclk &gmac1_txen &gmac1_txd0 &gmac1_txd1 &gmac1_txd2 &gmac1_txd3
					 &gmac1_rxclk &gmac1_rxdv &gmac1_rxd0 &gmac1_rxd1 &gmac1_rxd2 &gmac1_rxd3>;
	};*/

	thermal@74700000 {
		compatible = "telechips,tcc-thermal";

                reg = <0x74700000 0x4 0x74700030 0x4 0x74200290 0x4
                        0x7420029c 0x4 0x74200298 0x4 0x7470000C 0x4
                        0x74700010 0x4>;

                status = "okay";

                throttle_count = <5>;
                throttle_active_count = <0>;
                throttle_passive_count = <5>;
                cal_type = "TYPE_ONE_POINT_TRIMMING";
                polling-delay-idle = <0>;
                polling-delay-passive = <0>;

                threshold_temp = <85>;

		throttle_table {
			throttle_tab_0 {
				temp = <75>;
				freq_max_cluster0 = <1000000>;
				freq_max_cluster1 = <900000>;
			};
			throttle_tab_1 {
				temp = <80>;
				freq_max_cluster0 = <900000>;
				freq_max_cluster1 = <810000>;
			};
			throttle_tab_2 {
				temp = <85>;
				freq_max_cluster0 = <800000>;
				freq_max_cluster1 = <720000>;
			};
			throttle_tab_3 {
				temp = <90>;
				freq_max_cluster0 = <700000>;
				freq_max_cluster1 = <630000>;
			};
			throttle_tab_4 {
				temp = <95>;
				freq_max_cluster0 = <600000>;
				freq_max_cluster1 = <540000>;
			};
		};
	};

	/*adc@76064000 {
		status = "okay";
	};*/

	/*tsadc@76064000 {
		tsadc-min_x = <110>;
		tsadc-max_x = <3990>;
		tsadc-min_y = <250>;
		tsadc-max_y = <3800>;
		//tsadc-swap_xy_pos;
		//tsadc-reverse_x_pos;
		tsadc-reverse_y_pos;
		status = "okay";
	};*/

	gpio_keys_polled {
		compatible = "gpio-keys-polled";
		#address-cells = <1>;
		#size-cells = <0>;
		poll-interval = <100>;
		autorepeat;

		button@0 {
			label = "Door Key";
			linux,code = <105>;
			gpios = <&gpa 0 0>;
		};

		button@1 {
			label = "Trunk Key";
			linux,code = <106>;
			gpios = <&gpa 3 0>;
		};
	};

        tcc-gpio-sample {
                compatible = "gpio-sample";
                leble = "TCC GPIO";
                /*EDGE_RISING : 0, EDGE_FALLING : 1, EDGE_BOTH : 2,
                LEVEL_HIGH : 3, LEVEL_LOW : 4*/
                irq-type = <2>;
                gpios = <&gpa 1 0>;
        };


};

/* console */
&uart0 {
	pinctrl-names = "default";
	pinctrl-0 = <&uart22_data>;
	port-mux = <22>;
	status = "okay";
};

/* bluetooth */
&uart1 {
	pinctrl-names = "default";
	pinctrl-0 = <&uart30_data &uart30_rtscts>;
	port-mux = <30>;
	//dmas = <&dma0 0 29 &dma0 1 30>;
	//dma-names = "tx", "rx";
	status = "okay";
};

/* GPS */
&uart3 {
	pinctrl-names = "default";
	pinctrl-0 = <&uart10_data>;
	port-mux = <10>;
	status = "okay";
};

